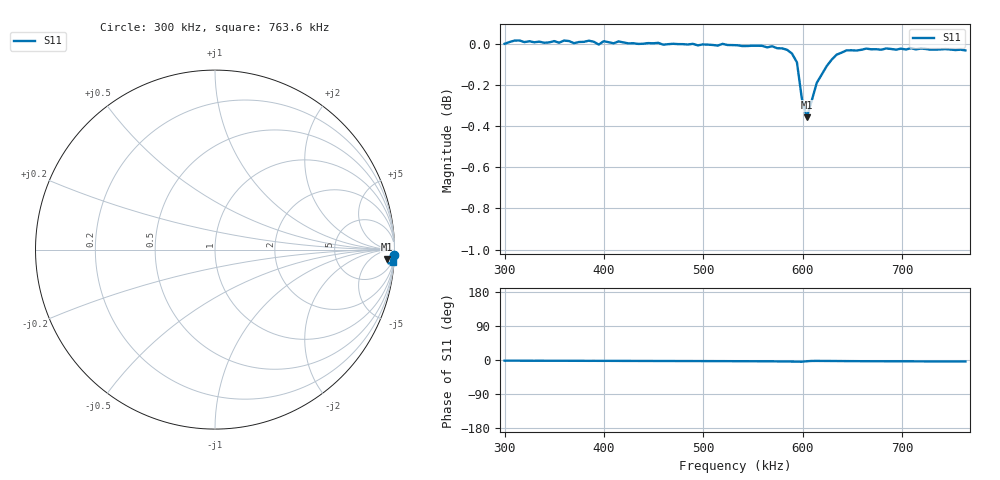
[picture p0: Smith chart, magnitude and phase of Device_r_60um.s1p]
!Agilent Technologies,N5230A,MY45001566,A.07.50.37
!Agilent N5230A: A.07.50.37
!Date: Monday, September 07, 2020 12:05:33
!Correction: S11(Full 1 Port(1))
!S1P File: Measurement: S11:
# Hz S  RI  R 50
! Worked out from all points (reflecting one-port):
!   94 points, 300 kHz to 763.6 kHz, reference 50 ohm
!   lowest |S11| = -0.4 dB at 604.1 kHz (marker M1), VSWR 48.75, Z = 838 - j1.16e+03 ohm
!   phase of S11 starts at -2 deg and turns -2 deg over the sweep
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300000  0.9995 -0.0311
314955  1.001 -0.0317
319940  1 -0.0341
334895  1.001 -0.0331
344865  1 -0.0357
359820  1.001 -0.0354
369790  0.9996 -0.0376
384745  1.001 -0.0396
394715  0.9988 -0.0398
399700  1.001 -0.0402
419640  0.9998 -0.0428
444565  0.9994 -0.044
474475  0.9987 -0.0484
534295  0.9977 -0.0549
544265  0.9972 -0.0555
569190  0.9967 -0.0614
584145  0.9943 -0.0678
589130  0.992 -0.0711
594115  0.9868 -0.0762
599100  0.9666 -0.0767
604085  0.9583 -0.0544
609070  0.9679 -0.0426
614055  0.9775 -0.0408
624025  0.9866 -0.0436
633995  0.9928 -0.0473
648950  0.995 -0.052
708770  0.9956 -0.0617
763605  0.9939 -0.0687
